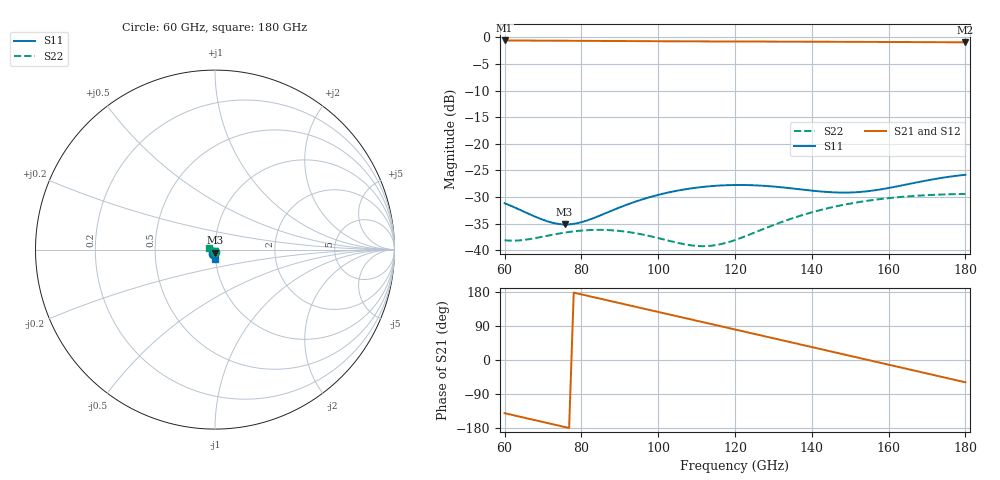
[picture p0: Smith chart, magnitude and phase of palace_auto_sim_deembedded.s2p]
! Created with skrf 1.11.0 (http://scikit-rf.org).
# GHz S DB R 50.0
!freq dBS11 angS11 dBS21 angS21 dBS12 angS12 dBS22 angS22
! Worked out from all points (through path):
!   101 points, 60 GHz to 180 GHz, reference 50 ohm
!   highest |S21| = -0.58 dB at 60 GHz (marker M1); lowest = -0.9 dB at 180 GHz (marker M2)
!   group delay of S21, straight-line fit = 6.44 ps
!   lowest |S11| = -35.2 dB at 75.6 GHz (marker M3), VSWR 1.04, Z = 49.8 - j1.73 ohm
!   |S11| at or under -10 dB: start of sweep to end of sweep
!   |S22| runs from -39.2 to -29.4 dB; largest |S21 - S12| = 1.6e-13
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60  -31.15 -114.3  -0.58 -140.4  -0.58 -140.4  -38.12 -84.5
68.4  -33.82 -111.7  -0.60 -159.9  -0.60 -159.9  -37.66 -81.1
75.6  -35.15 -96.2  -0.63 -176.6  -0.63 -176.6  -36.69 -89.3
80.4  -34.65 -84.2  -0.65 172.2  -0.65 172.2  -36.28 -99.5
85.2  -33.36 -76.5  -0.67 161.1  -0.67 161.1  -36.17 -112.5
90  -31.94 -73.8  -0.68 150.0  -0.68 150.0  -36.37 -128.2
94.8  -30.69 -74.3  -0.70 138.9  -0.70 138.9  -36.88 -146.5
100.8  -29.45 -77.4  -0.72 125.0  -0.72 125.0  -37.85 -173.8
105.6  -28.72 -80.9  -0.74 113.9  -0.74 113.9  -38.69 159.8
110.4  -28.20 -84.8  -0.75 102.8  -0.75 102.8  -39.20 129.3
115.2  -27.87 -88.8  -0.76 91.7  -0.76 91.7  -39.01 96.7
120  -27.74 -92.7  -0.77 80.5  -0.77 80.5  -38.08 65.5
124.8  -27.79 -96.1  -0.78 69.4  -0.78 69.4  -36.76 37.7
129.6  -28.00 -98.7  -0.79 58.3  -0.79 58.3  -35.38 13.1
134.4  -28.34 -100.0  -0.80 47.2  -0.80 47.2  -34.12 -9.1
140.4  -28.82 -99.3  -0.81 33.2  -0.81 33.2  -32.80 -34.9
146.4  -29.14 -96.0  -0.82 19.3  -0.82 19.3  -31.74 -59.6
151.2  -29.11 -92.1  -0.84 8.1  -0.84 8.1  -31.07 -79.0
156  -28.77 -88.3  -0.85 -3.0  -0.85 -3.0  -30.55 -98.3
160.8  -28.19 -85.5  -0.86 -14.2  -0.86 -14.2  -30.14 -117.8
170.4  -26.83 -84.8  -0.89 -36.5  -0.89 -36.5  -29.63 -157.3
180  -25.82 -88.8  -0.93 -58.8  -0.93 -58.8  -29.41 161.8
